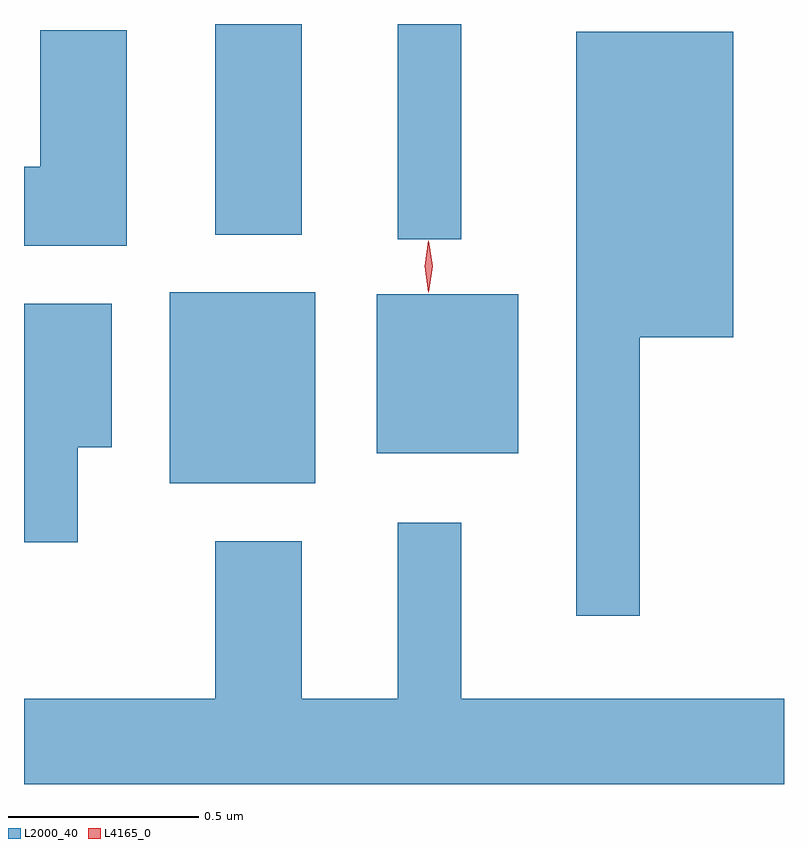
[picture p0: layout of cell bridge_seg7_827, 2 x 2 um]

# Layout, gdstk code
import gdstk
lib = gdstk.Library(unit=1e-6, precision=1e-09)
def R(c, l, rs):  # rectangles x0, y0, x1, y1
    for r in rs: c.add(gdstk.rectangle(r[:2], r[2:], *l))
def P(c, l, *ps):  # polygons
    for p in ps: c.add(gdstk.Polygon(p, *l))
L2000_40 = (2000, 40)
L4165_0 = (4165, 0)

bridge_seg7_827 = lib.new_cell('bridge_seg7_827')
R(bridge_seg7_827, L2000_40, [(383.101,1788.411,383.484,1788.914), (383.646,1788.491,384.019,1788.909), (383.701,1789.053,383.869,1789.62), (383.221,1789.066,383.449,1789.62)])
P(bridge_seg7_827, L2000_40, [(382.989,1789.604),(382.761,1789.604),(382.761,1789.244),(382.718,1789.244),(382.718,1789.036),(382.989,1789.036)],
  [(384.339,1788.796),(384.584,1788.796),(384.584,1789.599),(384.171,1789.599),(384.171,1788.063),(384.339,1788.063)],
  [(382.859,1788.506),(382.949,1788.506),(382.949,1788.884),(382.718,1788.884),(382.718,1788.256),(382.859,1788.256)],
  [(384.718,1787.844),(383.869,1787.844),(383.869,1788.308),(383.701,1788.308),(383.701,1787.844),(383.449,1787.844),(383.449,1788.259),(383.221,1788.259),(383.221,1787.844),(382.718,1787.844),(382.718,1787.62),(384.718,1787.62)])
P(bridge_seg7_827, L4165_0, [(383.782,1788.914),(383.773,1788.982),(383.782,1789.05),(383.783,1789.05),(383.783,1789.05),(383.793,1788.982),(383.783,1788.914),(383.783,1788.914)],
  [(383.782,1788.918),(383.773,1788.982),(383.782,1789.046),(383.783,1789.047),(383.783,1789.046),(383.793,1788.982),(383.783,1788.918),(383.783,1788.918)])

lib.write_gds('bridge_seg7_827.gds')
